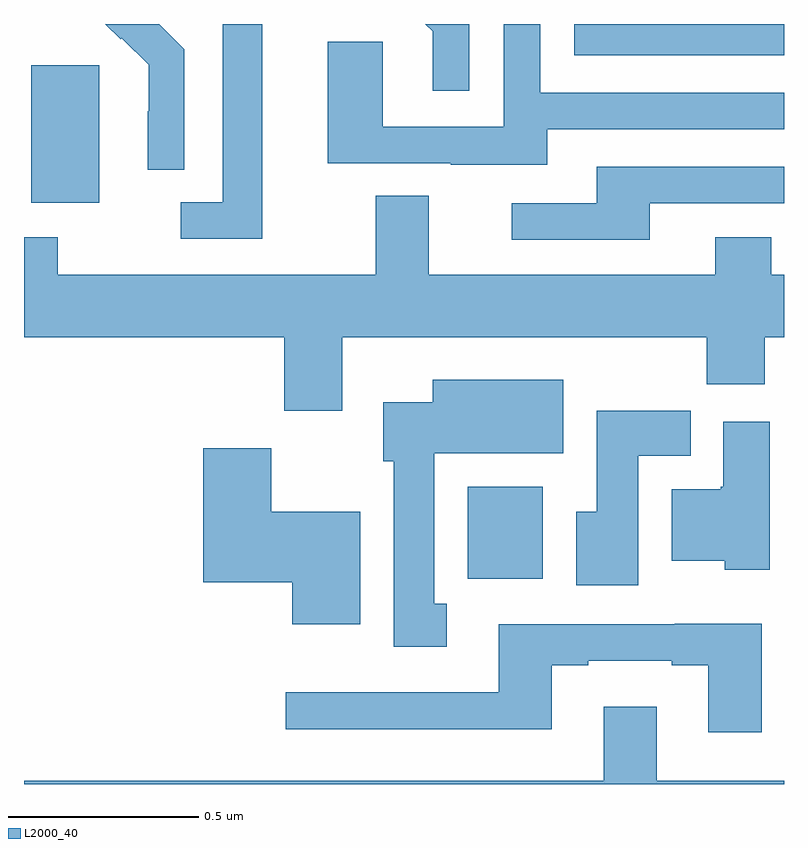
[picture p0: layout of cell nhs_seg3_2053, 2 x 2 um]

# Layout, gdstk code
import gdstk
lib = gdstk.Library(unit=1e-6, precision=1e-09)
def R(c, l, rs):  # rectangles x0, y0, x1, y1
    for r in rs: c.add(gdstk.rectangle(r[:2], r[2:], *l))
def P(c, l, *ps):  # polygons
    for p in ps: c.add(gdstk.Polygon(p, *l))
L2000_40 = (2000, 40)

nhs_seg3_2053 = lib.new_cell('nhs_seg3_2053')
R(nhs_seg3_2053, L2000_40, [(137.168,706.94,137.365,707.182), (136.019,707.93,136.198,708.291), (137.448,708.318,138,708.4)])
P(nhs_seg3_2053, L2000_40, [(136.422,708.334),(136.356,708.4),(136.214,708.4),(136.254,708.36),(136.257,708.363),(136.328,708.293),(136.328,708.17),(136.326,708.17),(136.326,708.016),(136.422,708.016)],
  [(136.627,708.4),(136.523,708.4),(136.523,707.931),(136.413,707.931),(136.413,707.835),(136.627,707.835)],
  [(137.172,708.4),(137.056,708.4),(137.075,708.381),(137.075,708.225),(137.172,708.225)],
  [(137.377,708.123),(138,708.123),(138,708.219),(137.358,708.219),(137.358,708.4),(137.262,708.4),(137.262,708.129),(136.944,708.129),(136.944,708.353),(136.799,708.353),(136.799,708.033),(137.123,708.033),(137.123,708.029),(137.377,708.029)],
  [(137.647,707.928),(138,707.928),(138,708.024),(137.507,708.024),(137.507,707.928),(137.283,707.928),(137.283,707.832),(137.647,707.832)],
  [(136.837,707.576),(137.797,707.576),(137.797,707.452),(137.949,707.452),(137.949,707.576),(138,707.576),(138,707.74),(137.967,707.74),(137.967,707.839),(137.819,707.839),(137.819,707.74),(137.065,707.74),(137.065,707.948),(136.925,707.948),(136.925,707.74),(136.089,707.74),(136.089,707.839),(136,707.839),(136,707.576),(136.685,707.576),(136.685,707.382),(136.837,707.382)],
  [(137.113,706.874),(137.08,706.874),(137.08,707.27),(137.419,707.27),(137.419,707.464),(137.075,707.464),(137.075,707.404),(136.946,707.404),(136.946,707.25),(136.973,707.25),(136.973,706.761),(137.113,706.761)],
  [(137.617,707.264),(137.755,707.264),(137.755,707.382),(137.507,707.382),(137.507,707.116),(137.453,707.116),(137.453,706.923),(137.617,706.923)],
  [(137.962,707.353),(137.84,707.353),(137.84,707.182),(137.834,707.182),(137.834,707.176),(137.705,707.176),(137.705,706.988),(137.844,706.988),(137.844,706.964),(137.962,706.964)],
  [(136.885,707.116),(136.65,707.116),(136.65,707.284),(136.472,707.284),(136.472,706.931),(136.706,706.931),(136.706,706.82),(136.885,706.82)],
  [(137.941,706.822),(137.713,706.822),(137.713,706.821),(137.249,706.821),(137.249,706.641),(136.689,706.641),(136.689,706.544),(137.389,706.544),(137.389,706.713),(137.485,706.713),(137.485,706.725),(137.705,706.725),(137.705,706.713),(137.801,706.713),(137.801,706.536),(137.941,706.536)],
  [(138,706.408),(137.665,706.408),(137.665,706.603),(137.525,706.603),(137.525,706.408),(136,706.408),(136,706.4),(138,706.4)])

lib.write_gds('nhs_seg3_2053.gds')
